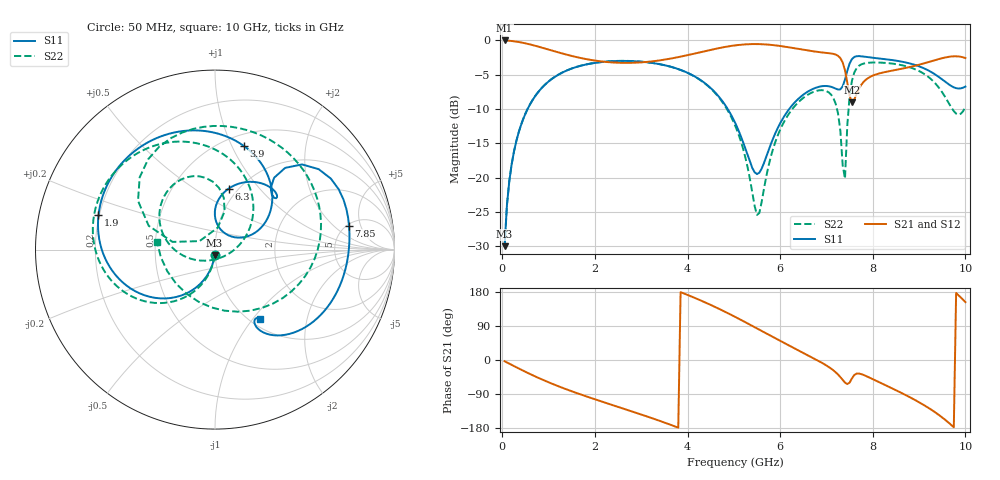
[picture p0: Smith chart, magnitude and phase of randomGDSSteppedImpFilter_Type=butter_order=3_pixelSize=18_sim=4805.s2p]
! freq	dB(S11)	phase(S11)	dB(S12)	phase(S12)
!  dB(S21)	phase(S21)	dB(S22)	phase(S22)
!S-par simulation data
#  GHz  S  DB  R 50
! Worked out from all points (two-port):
!   200 points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, 50 MHz to 10 GHz, reference 50 ohm
!   highest |S21| = -0.01 dB at 50 MHz (marker M1); lowest = -9.0 dB at 7.55 GHz (marker M2)
!   |S21| within 3 dB of the highest: start of sweep to 2.072 GHz; 3.294 GHz to 7.334 GHz (4.04 GHz wide, 76 % of centre) (the widest 2 of 3)
!   lowest |S11| = -30.0 dB at 50 MHz (marker M3), VSWR 1.07, Z = 49.7 - j3.14 ohm
!   |S11| at or under -10 dB: start of sweep to 546.7 MHz; 4.867 GHz to 6.196 GHz (1.329 GHz wide, 24 % of centre)
!   |S22| runs from -30.0 to -3.0 dB; largest |S21 - S12| = 0
!   S11 on the Smith chart (normalised r, x): 50 MHz: 0.99, -0.06; 1.9 GHz: 0.20, +0.14; 3.9 GHz: 0.61, +1.11; 6.3 GHz: 0.91, +0.70; 7.85 GHz: 5.20, +3.24; 10 GHz: 1.10, -1.09
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0.05  -29.99 -93.6  -0.01 -3.2  -0.01 -3.2  -29.99 -93.3
0.2  -18.15 -104.0  -0.09 -12.8  -0.09 -12.8  -18.14 -102.7
0.5  -10.67 -123.3  -0.43 -31.2  -0.43 -31.2  -10.66 -120.0
1.05  -5.72 -155.3  -1.44 -61.4  -1.44 -61.4  -5.71 -148.5
1.75  -3.60 170.3  -2.65 -93.4  -2.65 -93.4  -3.59 -178.2
1.9  -3.39 163.6  -2.84 -99.6  -2.84 -99.6  -3.38 176.1
3.4  -3.47 98.1  -2.91 -160.6  -2.91 -160.6  -3.47 120.5
3.9  -4.43 74.6  -2.30 176.6  -2.30 176.6  -4.44 99.4
4.5  -6.95 44.9  -1.38 145.4  -1.38 145.4  -7.01 69.1
5.05  -12.33 22.8  -0.71 112.4  -0.71 112.4  -12.77 32.2
5.5  -19.48 56.2  -0.54 83.3  -0.54 83.3  -25.44 -63.4
6.3  -9.15 77.3  -1.13 31.5  -1.13 31.5  -9.70 157.6
6.7  -7.10 58.1  -1.58 6.1  -1.58 6.1  -7.56 129.7
7.2  -7.04 40.0  -2.07 -32.5  -2.07 -32.5  -9.25 86.3
7.4  -5.71 50.6  -4.36 -59.7  -4.36 -59.7  -20.16 151.2
7.45  -4.44 49.4  -6.14 -63.5  -6.14 -63.5  -12.38 169.7
7.55  -2.72 37.8  -9.02 -48.7  -9.02 -48.7  -5.89 147.7
7.85  -2.40 10.1  -5.74 -42.0  -5.74 -42.0  -3.31 100.2
8.35  -2.81 -16.1  -4.50 -70.9  -4.50 -70.9  -3.33 60.2
9.15  -4.21 -50.4  -3.26 -122.3  -3.26 -122.3  -5.07 -5.1
9.6  -6.21 -61.8  -2.44 -161.5  -2.44 -161.5  -8.67 -69.9
10  -6.73 -57.2  -2.57 152.9  -2.57 152.9  -9.75 172.4
